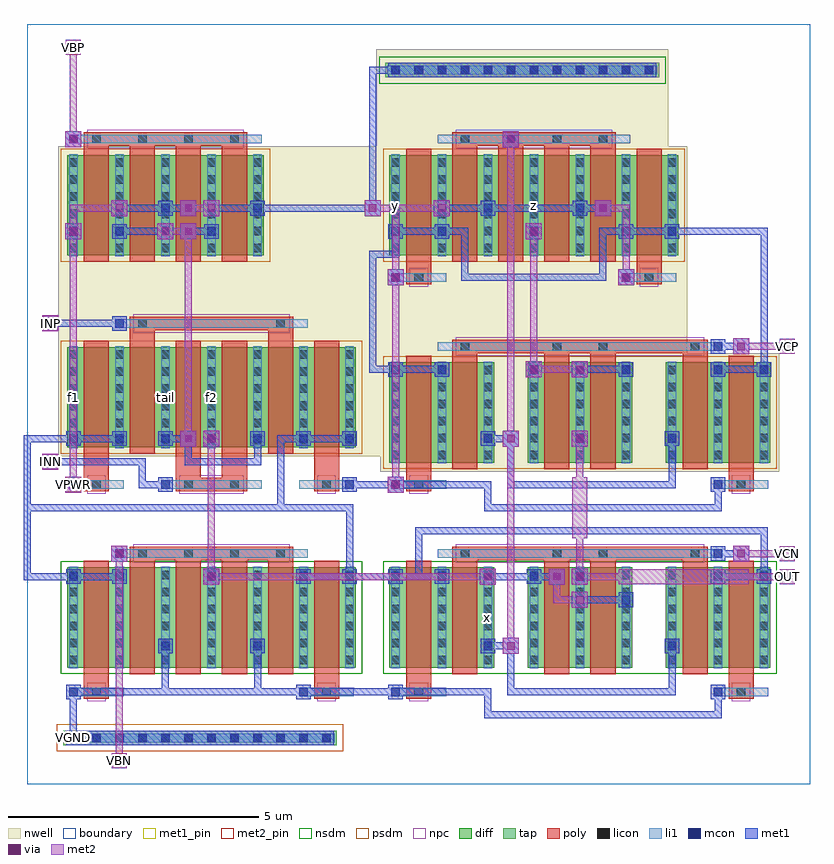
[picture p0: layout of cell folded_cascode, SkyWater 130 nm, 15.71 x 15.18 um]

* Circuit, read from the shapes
.subckt folded_cascode INN INP OUT VBN VBP VCN VCP VGND VPWR f1 f2 tail x y z
XM1 f1 VGND f1 VGND sky130_fd_pr__nfet_01v8 w=2 l=0.5 m=4
XM2 VGND VBN f1 VGND sky130_fd_pr__nfet_01v8 w=2 l=0.5 m=2
XM3 f2 VBN VGND VGND sky130_fd_pr__nfet_01v8 w=2 l=0.5 m=2
XM4 x VCN f1 VGND sky130_fd_pr__nfet_01v8 w=2 l=0.5 m=2
XM5 OUT VCN f2 VGND sky130_fd_pr__nfet_01v8 w=2 l=0.5 m=2
XM6 f1 VPWR f1 VPWR sky130_fd_pr__pfet_01v8 w=2 l=0.5 m=2
XM7 tail VBP VPWR VPWR sky130_fd_pr__pfet_01v8 w=2 l=0.5 m=4
XM8 tail INP f1 VPWR sky130_fd_pr__pfet_01v8 w=2 l=0.5 m=2
XM9 f2 INN tail VPWR sky130_fd_pr__pfet_01v8 w=2 l=0.5 m=2
XM10 y VPWR y VPWR sky130_fd_pr__pfet_01v8 w=2 l=0.5 m=4
XM11 x VCP y VPWR sky130_fd_pr__pfet_01v8 w=2 l=0.5 m=2
XM12 VPWR x y VPWR sky130_fd_pr__pfet_01v8 w=2 l=0.5 m=2
XM13 z x VPWR VPWR sky130_fd_pr__pfet_01v8 w=2 l=0.5 m=2
XM14 OUT VCP z VPWR sky130_fd_pr__pfet_01v8 w=2 l=0.5 m=2
.ends

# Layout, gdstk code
import gdstk
lib = gdstk.Library(unit=1e-6, precision=1e-09)
def R(c, l, rs):  # rectangles x0, y0, x1, y1
    for r in rs: c.add(gdstk.rectangle(r[:2], r[2:], *l))
def A(c, l, x, y, w, h, nx, ny, dx, dy):  # array of equal rectangles
    R(c, l, [(x+i*dx, y+j*dy, x+i*dx+w, y+j*dy+h) for i in range(nx) for j in range(ny)])
nwell = (64, 20)
diff = (65, 20)
tap = (65, 44)
poly = (66, 20)
licon = (66, 44)
li1 = (67, 20)
mcon = (67, 44)
met1_pin = (68, 16)
met1 = (68, 20)
via = (68, 44)
met2_pin = (69, 16)
met2 = (69, 20)
nsdm = (93, 44)
psdm = (94, 20)
npc = (95, 20)
boundary = (235, 4)

folded_cascode = lib.new_cell('folded_cascode')
R(folded_cascode, nwell, [(7.055,6.24,15.025,6.545), (0.615,6.545,15.025,8.6), (0.615,8.6,13.185,12.74), (6.975,12.74,12.805,14.68)])
A(folded_cascode, diff, 7.235, 2.325, 2.09, 2, 3, 2, 2.76, 4.095)
R(folded_cascode, diff, [(0.795,2.325,6.565,4.325), (0.795,6.725,6.565,8.725), (0.795,10.56,4.725,12.56), (7.235,10.56,13.005,12.56)])
R(folded_cascode, tap, [(0.715,0.775,6.185,1.065), (7.155,14.115,12.625,14.405)])
A(folded_cascode, poly, 7.57, 1.705, 0.5, 0.27, 1, 3, 0, 4.14)
A(folded_cascode, poly, 2.05, 2.195, 0.5, 2.405, 4, 1, 0.92, 0)
A(folded_cascode, poly, 1.13, 10.43, 0.5, 2.45, 4, 1, 0.92, 0)
A(folded_cascode, poly, 8.49, 10.43, 0.5, 2.45, 4, 1, 0.92, 0)
R(folded_cascode, poly, [(1.13,1.705,1.63,1.975), (5.73,1.705,6.23,1.975), (14.01,1.705,14.51,1.975), (1.13,1.84,1.63,4.455), (5.73,1.84,6.23,4.455), (7.57,1.84,8.07,4.455), (14.01,1.84,14.51,4.455), (8.49,2.195,8.99,4.6), (10.33,2.195,10.83,4.6), (11.25,2.195,11.75,4.6), (13.09,2.195,13.59,4.6), (2.05,4.465,5.31,4.735), (8.49,4.465,13.59,4.735), (1.13,5.845,1.63,6.115), (2.97,5.845,4.39,6.115), (5.73,5.845,6.23,6.115), (14.01,5.845,14.51,6.115), (1.13,5.98,1.63,8.855), (2.97,5.98,3.47,8.855), (3.89,5.98,4.39,8.855), (5.73,5.98,6.23,8.855), (7.57,5.98,8.07,8.55), (14.01,5.98,14.51,8.55), (8.49,6.29,8.99,8.74), (10.33,6.29,10.83,8.74), (11.25,6.29,11.75,8.74), (13.09,6.29,13.59,8.74), (2.05,6.595,2.55,9.2), (4.81,6.595,5.31,9.2), (8.49,8.605,13.59,8.875), (2.05,9.065,5.31,9.335), (12.17,9.985,12.67,10.255), (7.57,10.12,8.07,12.69), (12.17,10.12,12.67,12.69), (1.13,12.745,4.39,13.015), (8.49,12.745,11.75,13.015)])
A(folded_cascode, licon, 0.835, 0.835, 0.17, 0.17, 12, 1, 0.46, 0)
A(folded_cascode, licon, 0.835, 2.39, 0.17, 0.17, 16, 6, 0.92, 0.34)
A(folded_cascode, licon, 2.215, 4.515, 0.17, 0.17, 4, 1, 0.92, 0)
A(folded_cascode, licon, 4.055, 5.895, 0.17, 0.17, 3, 1, 1.84, 0)
A(folded_cascode, licon, 7.275, 6.485, 0.17, 0.17, 9, 6, 0.92, 0.34)
A(folded_cascode, licon, 0.835, 6.79, 0.17, 0.17, 7, 6, 0.92, 0.34)
A(folded_cascode, licon, 0.835, 10.625, 0.17, 0.17, 5, 6, 0.92, 0.34)
A(folded_cascode, licon, 7.275, 10.625, 0.17, 0.17, 7, 6, 0.92, 0.34)
A(folded_cascode, licon, 1.295, 12.795, 0.17, 0.17, 4, 1, 0.92, 0)
A(folded_cascode, licon, 8.655, 12.795, 0.17, 0.17, 4, 1, 0.92, 0)
A(folded_cascode, licon, 7.275, 14.175, 0.17, 0.17, 12, 1, 0.46, 0)
R(folded_cascode, licon, [(1.295,1.755,1.465,1.925), (5.895,1.755,6.065,1.925), (7.735,1.755,7.905,1.925), (14.175,1.755,14.345,1.925), (8.655,4.515,8.825,4.685), (10.495,4.515,10.665,4.685), (11.415,4.515,11.585,4.685), (13.255,4.515,13.425,4.685), (1.295,5.895,1.465,6.065), (3.135,5.895,3.305,6.065), (14.175,5.895,14.345,6.065), (8.655,8.655,8.825,8.825), (10.495,8.655,10.665,8.825), (11.415,8.655,11.585,8.825), (13.255,8.655,13.425,8.825), (2.215,9.115,2.385,9.285), (4.975,9.115,5.145,9.285), (7.735,10.035,7.905,10.205), (12.335,10.035,12.505,10.205)])
A(folded_cascode, li1, 7.275, 1.755, 1.09, 0.17, 1, 3, 0, 4.14)
A(folded_cascode, li1, 0.835, 2.31, 0.17, 2.03, 16, 1, 0.92, 0)
A(folded_cascode, li1, 7.275, 6.405, 0.17, 2.03, 9, 1, 0.92, 0)
A(folded_cascode, li1, 0.835, 6.71, 0.17, 2.03, 7, 1, 0.92, 0)
A(folded_cascode, li1, 0.835, 10.545, 0.17, 2.03, 5, 1, 0.92, 0)
A(folded_cascode, li1, 7.275, 10.545, 0.17, 2.03, 7, 1, 0.92, 0)
R(folded_cascode, li1, [(0.755,0.835,6.145,1.005), (0.835,1.755,1.925,1.925), (5.435,1.755,6.525,1.925), (13.715,1.755,14.805,1.925), (1.755,4.515,5.605,4.685), (8.195,4.515,13.885,4.685), (0.835,5.895,1.925,6.065), (2.675,5.895,4.685,6.065), (5.435,5.895,6.525,6.065), (13.715,5.895,14.805,6.065), (8.195,8.655,13.885,8.825), (1.755,9.115,5.605,9.285), (11.875,10.035,12.965,10.205), (0.835,12.795,4.685,12.965), (8.195,12.795,12.045,12.965), (7.195,14.175,12.585,14.345)])
A(folded_cascode, mcon, 0.835, 0.835, 0.17, 0.17, 12, 1, 0.46, 0)
A(folded_cascode, mcon, 1.755, 4.055, 0.17, 0.17, 3, 1, 1.84, 0)
A(folded_cascode, mcon, 6.355, 4.055, 0.17, 0.17, 3, 1, 0.92, 0)
A(folded_cascode, mcon, 0.835, 6.815, 0.17, 0.17, 7, 1, 0.92, 0)
A(folded_cascode, mcon, 9.115, 6.815, 0.17, 0.17, 3, 1, 1.84, 0)
A(folded_cascode, mcon, 8.195, 8.195, 0.17, 0.17, 4, 1, 1.84, 0)
A(folded_cascode, mcon, 8.195, 10.955, 0.17, 0.17, 3, 1, 1.84, 0)
A(folded_cascode, mcon, 7.275, 14.175, 0.17, 0.17, 12, 1, 0.46, 0)
R(folded_cascode, mcon, [(0.835,1.755,1.005,1.925), (5.435,1.755,5.605,1.925), (7.275,1.755,7.445,1.925), (13.715,1.755,13.885,1.925), (2.675,2.675,2.845,2.845), (4.515,2.675,4.685,2.845), (9.115,2.675,9.285,2.845), (12.795,2.675,12.965,2.845), (11.875,3.595,12.045,3.765), (0.835,4.055,1.005,4.225), (10.035,4.055,10.205,4.225), (10.955,4.055,11.125,4.225), (13.715,4.055,13.885,4.225), (14.635,4.055,14.805,4.225), (1.755,4.515,1.925,4.685), (13.715,4.515,13.885,4.685), (0.835,5.895,1.005,6.065), (2.675,5.895,2.845,6.065), (6.355,5.895,6.525,6.065), (7.275,5.895,7.445,6.065), (13.715,5.895,13.885,6.065), (7.275,8.195,7.445,8.365), (14.635,8.195,14.805,8.365), (13.715,8.655,13.885,8.825), (1.755,9.115,1.925,9.285), (7.275,10.035,7.445,10.205), (11.875,10.035,12.045,10.205), (0.835,10.955,1.005,11.125), (1.755,10.955,1.925,11.125), (3.595,10.955,3.765,11.125), (7.275,10.955,7.445,11.125), (12.795,10.955,12.965,11.125), (2.675,11.415,2.845,11.585), (4.515,11.415,4.685,11.585), (9.115,11.415,9.285,11.585), (10.955,11.415,11.125,11.585), (0.835,12.795,1.005,12.965), (9.575,12.795,9.745,12.965)])
R(folded_cascode, met1_pin, [(0.85,0.85,0.99,0.99), (0.775,5.835,1.065,6.125)])
A(folded_cascode, met1, 1.695, 3.995, 0.29, 0.29, 3, 1, 1.84, 0)
A(folded_cascode, met1, 6.295, 3.995, 0.29, 0.29, 3, 1, 0.92, 0)
A(folded_cascode, met1, 5.45, 4.07, 1.06, 0.14, 3, 1, 0.92, 0)
A(folded_cascode, met1, 0.775, 6.755, 0.29, 0.29, 7, 1, 0.92, 0)
A(folded_cascode, met1, 9.055, 6.755, 0.29, 0.29, 3, 1, 1.84, 0)
A(folded_cascode, met1, 8.135, 8.135, 0.29, 0.29, 4, 1, 1.84, 0)
A(folded_cascode, met1, 8.135, 10.895, 0.29, 0.29, 3, 1, 1.84, 0)
R(folded_cascode, met1, [(0.775,0.775,6.125,1.065), (0.85,0.85,0.99,0.99), (0.85,0.85,0.99,1.91), (9.13,1.31,9.27,1.91), (9.13,1.31,13.87,1.45), (13.73,1.31,13.87,1.91), (0.775,1.695,1.065,1.985), (5.375,1.695,5.665,1.985), (7.215,1.695,7.505,1.985), (13.655,1.695,13.945,1.985), (0.85,1.77,2.83,1.91), (2.69,1.77,2.83,2.83), (2.69,1.77,5.59,1.91), (4.53,1.77,4.67,2.83), (5.45,1.77,7.43,1.91), (7.29,1.77,9.27,1.91), (9.59,1.77,9.73,2.83), (9.59,1.77,12.95,1.91), (12.81,1.77,12.95,2.83), (9.5,2.6,9.82,2.92), (2.615,2.615,2.905,2.905), (4.455,2.615,4.745,2.905), (9.055,2.615,9.345,2.905), (12.735,2.615,13.025,2.905), (9.13,2.69,9.73,2.83), (10.88,3.52,11.2,3.84), (11.815,3.535,12.105,3.825), (10.97,3.61,12.03,3.75), (3.52,3.98,3.84,4.3), (9.04,3.98,9.36,4.3), (10.42,3.98,10.74,4.3), (10.88,3.98,11.2,4.3), (0.775,3.995,1.065,4.285), (9.975,3.995,10.265,4.285), (10.895,3.995,11.185,4.285), (13.655,3.995,13.945,4.285), (14.575,3.995,14.865,4.285), (-0.07,4.07,0.99,4.21), (-0.07,4.07,0.07,6.97), (0.85,4.07,1.91,4.21), (6.37,4.07,6.51,5.59), (7.75,4.07,7.89,5.13), (9.13,4.07,10.19,4.21), (10.05,4.07,10.65,4.21), (13.73,4.07,14.79,4.21), (14.65,4.07,14.79,5.13), (1.68,4.44,2,4.76), (14.1,4.44,14.42,4.76), (1.695,4.455,1.985,4.745), (13.655,4.455,13.945,4.745), (13.73,4.53,14.33,4.67), (7.75,4.99,14.79,5.13), (-0.07,5.45,5.13,5.59), (4.99,5.45,6.51,5.59), (4.99,5.45,5.13,6.97), (9.13,5.45,9.27,6.05), (9.13,5.45,13.87,5.59), (13.73,5.45,13.87,6.05), (0.76,5.82,1.08,6.14), (7.2,5.82,7.52,6.14), (0.775,5.835,1.065,6.125), (2.615,5.835,2.905,6.125), (6.295,5.835,6.585,6.125), (7.215,5.835,7.505,6.125), (13.655,5.835,13.945,6.125), (2.23,5.91,2.37,6.51), (2.23,5.91,2.83,6.05), (6.37,5.91,7.43,6.05), (7.29,5.91,9.27,6.05), (9.59,5.91,9.73,6.97), (9.59,5.91,12.95,6.05), (12.81,5.91,12.95,6.97), (0.3,6.28,0.62,6.6), (0.39,6.37,2.37,6.51), (3.15,6.37,3.29,6.97), (3.15,6.37,4.67,6.51), (4.53,6.37,4.67,6.97), (3.06,6.74,3.38,7.06), (3.52,6.74,3.84,7.06), (9.5,6.74,9.82,7.06), (10.88,6.74,11.2,7.06), (-0.07,6.83,0.99,6.97), (0.85,6.83,1.91,6.97), (2.69,6.83,3.29,6.97), (4.99,6.83,5.59,6.97), (5.45,6.83,6.51,6.97), (9.13,6.83,9.73,6.97), (9.96,8.12,10.28,8.44), (10.88,8.12,11.2,8.44), (7.215,8.135,7.505,8.425), (14.575,8.135,14.865,8.425), (6.83,8.21,7.43,8.35), (6.83,8.21,6.97,10.65), (7.29,8.21,8.35,8.35), (10.97,8.21,12.03,8.35), (13.73,8.21,14.79,8.35), (14.65,8.21,14.79,11.11), (14.1,8.58,14.42,8.9), (13.655,8.595,13.945,8.885), (13.73,8.67,14.33,8.81), (0.3,9.04,0.62,9.36), (1.695,9.055,1.985,9.345), (0.39,9.13,1.91,9.27), (7.2,9.96,7.52,10.28), (11.8,9.96,12.12,10.28), (7.215,9.975,7.505,10.265), (11.815,9.975,12.105,10.265), (8.67,10.05,8.81,11.11), (8.67,10.05,11.57,10.19), (11.43,10.05,11.57,11.11), (6.83,10.51,7.43,10.65), (7.29,10.51,7.43,11.11), (0.76,10.88,1.08,11.2), (2.6,10.88,2.92,11.2), (3.06,10.88,3.38,11.2), (9.96,10.88,10.28,11.2), (0.775,10.895,1.065,11.185), (1.695,10.895,1.985,11.185), (3.535,10.895,3.825,11.185), (7.215,10.895,7.505,11.185), (12.735,10.895,13.025,11.185), (1.77,10.97,2.83,11.11), (3.15,10.97,3.75,11.11), (7.29,10.97,8.35,11.11), (8.21,10.97,8.81,11.11), (11.43,10.97,12.03,11.11), (11.89,10.97,12.95,11.11), (12.81,10.97,14.79,11.11), (1.68,11.34,2,11.66), (3.06,11.34,3.38,11.66), (3.52,11.34,3.84,11.66), (6.74,11.34,7.06,11.66), (8.12,11.34,8.44,11.66), (11.34,11.34,11.66,11.66), (2.615,11.355,2.905,11.645), (4.455,11.355,4.745,11.645), (9.055,11.355,9.345,11.645), (10.895,11.355,11.185,11.645), (1.77,11.43,2.83,11.57), (2.69,11.43,3.29,11.57), (3.61,11.43,4.67,11.57), (4.53,11.43,6.97,11.57), (6.83,11.43,6.97,14.33), (8.21,11.43,9.27,11.57), (9.13,11.43,11.11,11.57), (10.97,11.43,11.57,11.57), (0.76,12.72,1.08,13.04), (9.5,12.72,9.82,13.04), (0.775,12.735,1.065,13.025), (9.515,12.735,9.805,13.025), (7.215,14.115,12.565,14.405), (6.83,14.19,7.43,14.33), (7.29,14.19,7.43,14.33)])
R(folded_cascode, via, [(9.585,2.685,9.735,2.835), (10.965,3.605,11.115,3.755), (3.605,4.065,3.755,4.215), (9.125,4.065,9.275,4.215), (10.505,4.065,10.655,4.215), (10.965,4.065,11.115,4.215), (1.765,4.525,1.915,4.675), (14.185,4.525,14.335,4.675), (0.845,5.905,0.995,6.055), (7.285,5.905,7.435,6.055), (0.385,6.365,0.535,6.515), (3.145,6.825,3.295,6.975), (3.605,6.825,3.755,6.975), (9.585,6.825,9.735,6.975), (10.965,6.825,11.115,6.975), (10.045,8.205,10.195,8.355), (10.965,8.205,11.115,8.355), (14.185,8.665,14.335,8.815), (0.385,9.125,0.535,9.275), (7.285,10.045,7.435,10.195), (11.885,10.045,12.035,10.195), (0.845,10.965,0.995,11.115), (2.685,10.965,2.835,11.115), (3.145,10.965,3.295,11.115), (10.045,10.965,10.195,11.115), (1.765,11.425,1.915,11.575), (3.145,11.425,3.295,11.575), (3.605,11.425,3.755,11.575), (6.825,11.425,6.975,11.575), (8.205,11.425,8.355,11.575), (11.425,11.425,11.575,11.575), (0.845,12.805,0.995,12.955), (9.585,12.805,9.735,12.955)])
R(folded_cascode, met2_pin, [(1.69,0.31,1.99,0.61), (15.03,3.99,15.33,4.29), (15.03,4.45,15.33,4.75), (0.31,6.29,0.61,6.59), (15.03,8.59,15.33,8.89), (0.31,9.05,0.61,9.35), (0.77,14.57,1.07,14.87)])
R(folded_cascode, met2, [(1.69,0.31,1.99,0.61), (1.77,0.39,1.91,0.53), (1.77,0.39,1.91,4.67), (9.5,2.6,9.82,2.92), (9.59,2.69,9.73,6.97), (10.88,3.52,11.2,3.84), (10.51,3.61,11.11,3.75), (10.51,3.61,10.65,4.21), (3.52,3.98,3.84,4.3), (9.04,3.98,9.36,4.3), (10.42,3.98,10.74,4.3), (10.88,3.98,11.2,4.3), (11.81,3.99,14.41,4.29), (15.03,3.99,15.33,4.29), (3.61,4.07,3.75,6.97), (3.61,4.07,9.27,4.21), (10.97,4.07,11.11,5.13), (10.97,4.07,12.03,4.21), (14.19,4.07,15.25,4.21), (15.11,4.07,15.25,4.21), (1.68,4.44,2,4.76), (14.1,4.44,14.42,4.76), (15.03,4.45,15.33,4.75), (14.19,4.53,15.25,4.67), (15.11,4.53,15.25,4.67), (10.89,4.91,11.19,6.13), (0.76,5.82,1.08,6.14), (7.2,5.82,7.52,6.14), (0.85,5.91,0.99,11.11), (7.29,5.91,7.43,10.19), (10.97,5.91,11.11,6.97), (0.3,6.28,0.62,6.6), (0.31,6.29,0.61,6.59), (0.39,6.37,0.53,6.51), (3.06,6.74,3.38,7.06), (3.52,6.74,3.84,7.06), (9.5,6.74,9.82,7.06), (10.88,6.74,11.2,7.06), (3.15,6.83,3.29,11.11), (9.59,6.83,9.73,12.95), (9.96,8.12,10.28,8.44), (10.88,8.12,11.2,8.44), (10.05,8.21,11.11,8.35), (10.05,8.21,10.19,11.11), (14.1,8.58,14.42,8.9), (15.03,8.59,15.33,8.89), (14.19,8.67,15.25,8.81), (15.11,8.67,15.25,8.81), (0.3,9.04,0.62,9.36), (0.31,9.05,0.61,9.35), (0.39,9.13,0.53,9.27), (7.2,9.96,7.52,10.28), (11.8,9.96,12.12,10.28), (7.29,10.05,7.43,11.57), (11.89,10.05,12.03,11.57), (0.76,10.88,1.08,11.2), (2.6,10.88,2.92,11.2), (3.06,10.88,3.38,11.2), (9.96,10.88,10.28,11.2), (0.85,10.97,0.99,11.57), (2.69,10.97,3.29,11.11), (1.68,11.34,2,11.66), (3.06,11.34,3.38,11.66), (3.52,11.34,3.84,11.66), (6.74,11.34,7.06,11.66), (8.12,11.34,8.44,11.66), (11.34,11.34,11.66,11.66), (0.85,11.43,1.91,11.57), (3.15,11.43,3.75,11.57), (6.83,11.43,7.43,11.57), (7.29,11.43,8.35,11.57), (11.43,11.43,12.03,11.57), (0.76,12.72,1.08,13.04), (9.5,12.72,9.82,13.04), (0.85,12.81,0.99,14.79), (0.77,14.57,1.07,14.87), (0.85,14.65,0.99,14.79)])
R(folded_cascode, nsdm, [(0.67,2.2,6.69,4.45), (7.11,2.2,14.97,4.45), (7.03,13.99,12.75,14.53)])
R(folded_cascode, psdm, [(0.59,0.65,6.31,1.19), (7.11,6.295,14.97,8.545), (0.67,6.6,6.69,8.85), (0.67,10.435,4.85,12.685), (7.11,10.435,13.13,12.685)])
A(folded_cascode, npc, 7.635, 1.655, 0.37, 0.37, 1, 3, 0, 4.14)
R(folded_cascode, npc, [(1.195,1.655,1.565,2.025), (5.795,1.655,6.165,2.025), (14.075,1.655,14.445,2.025), (2.115,4.415,5.245,4.785), (8.555,4.415,13.525,4.785), (1.195,5.795,1.565,6.165), (3.035,5.795,4.325,6.165), (5.795,5.795,6.165,6.165), (14.075,5.795,14.445,6.165), (8.555,8.555,13.525,8.925), (2.115,9.015,5.245,9.385), (12.235,9.935,12.605,10.305), (1.195,12.695,4.325,13.065), (8.555,12.695,11.685,13.065)])
R(folded_cascode, boundary, [(0,0,15.64,15.18)])
folded_cascode.add(gdstk.Label('f1', (0.92,7.725), layer=67, texttype=5))
folded_cascode.add(gdstk.Label('tail', (2.76,7.725), layer=67, texttype=5))
folded_cascode.add(gdstk.Label('f2', (3.68,7.725), layer=67, texttype=5))
folded_cascode.add(gdstk.Label('x', (9.2,3.325), layer=67, texttype=5))
folded_cascode.add(gdstk.Label('y', (7.36,11.56), layer=67, texttype=5))
folded_cascode.add(gdstk.Label('z', (10.12,11.56), layer=67, texttype=5))
folded_cascode.add(gdstk.Label('VPWR', (0.92,5.98), layer=68, texttype=5))
folded_cascode.add(gdstk.Label('VGND', (0.92,0.92), layer=68, texttype=5))
folded_cascode.add(gdstk.Label('INP', (0.46,9.2), layer=69, texttype=5))
folded_cascode.add(gdstk.Label('INN', (0.46,6.44), layer=69, texttype=5))
folded_cascode.add(gdstk.Label('VBP', (0.92,14.72), layer=69, texttype=5))
folded_cascode.add(gdstk.Label('VBN', (1.84,0.46), layer=69, texttype=5))
folded_cascode.add(gdstk.Label('VCN', (15.18,4.6), layer=69, texttype=5))
folded_cascode.add(gdstk.Label('VCP', (15.18,8.74), layer=69, texttype=5))
folded_cascode.add(gdstk.Label('OUT', (15.18,4.14), layer=69, texttype=5))
folded_cascode.add(gdstk.Label('VPWR', (0.92,5.98), layer=68, texttype=16))
folded_cascode.add(gdstk.Label('VGND', (0.92,0.92), layer=68, texttype=16))
folded_cascode.add(gdstk.Label('INP', (0.46,9.2), layer=69, texttype=16))
folded_cascode.add(gdstk.Label('INN', (0.46,6.44), layer=69, texttype=16))
folded_cascode.add(gdstk.Label('VBP', (0.92,14.72), layer=69, texttype=16))
folded_cascode.add(gdstk.Label('VBN', (1.84,0.46), layer=69, texttype=16))
folded_cascode.add(gdstk.Label('VCN', (15.18,4.6), layer=69, texttype=16))
folded_cascode.add(gdstk.Label('VCP', (15.18,8.74), layer=69, texttype=16))
folded_cascode.add(gdstk.Label('OUT', (15.18,4.14), layer=69, texttype=16))

lib.write_gds('folded_cascode.gds')
